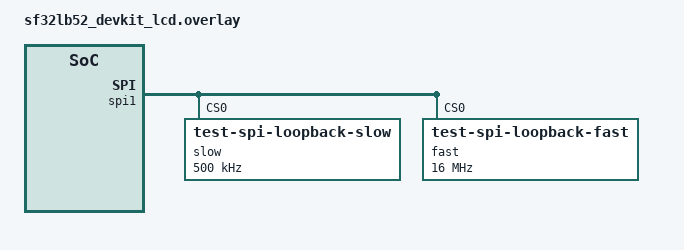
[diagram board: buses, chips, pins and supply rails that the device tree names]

&spi1 {
	status = "okay";
	pinctrl-0 = <&spi1_default>;
	pinctrl-names = "default";
	dmas = <&dmac 1 SF32LB52X_DMA_REQ_SPI1_TX SF32LB_DMA_PL_MEDIUM>,
	       <&dmac 2 SF32LB52X_DMA_REQ_SPI1_RX SF32LB_DMA_PL_MEDIUM>;

        slow@0 {
                compatible = "test-spi-loopback-slow";
                reg = <0>;
                spi-max-frequency = <500000>;
        };

        fast@0 {
                compatible = "test-spi-loopback-fast";
                reg = <0>;
                spi-max-frequency = <16000000>;
        };
};
